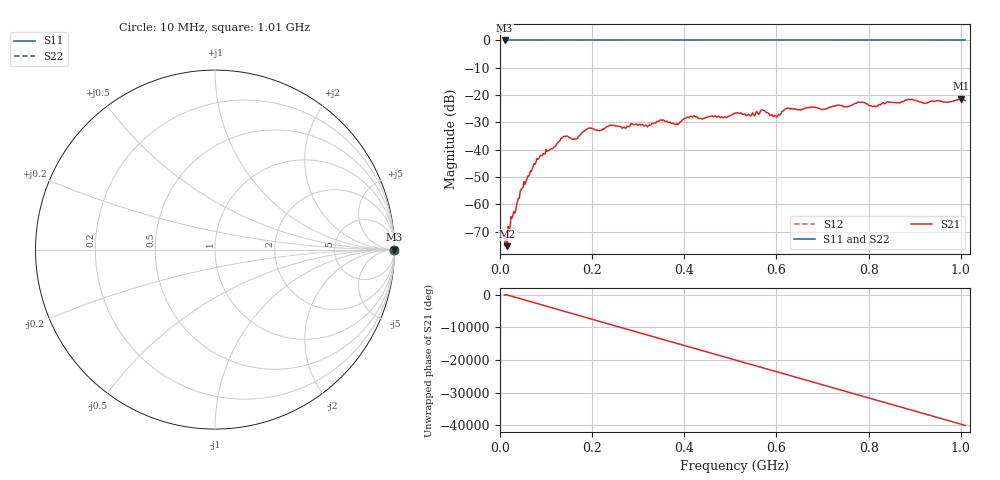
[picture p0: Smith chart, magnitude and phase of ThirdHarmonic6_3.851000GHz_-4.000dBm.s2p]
! 8/17/2025 1:26:06 PM
! C:\ANRITSUVNA\TEMP\TEMP.S2P
! CHANNEL.1
! TR.MEASUREMENT
! RAW.DATA
! RF.CORRECTION.OFF
! AVERAGING.OFF
! IF.BANDWIDTH: 5KHZ
! SWEEPTYPE:  FREQ.SWEEP(Linear)
! Reference Plane Port Info
! PORT:  PORT1  PORT2
! DISTANCE:  0  m  0  m
! TIME:  0  s  0  s
! PHASE.OFFSET:  0  deg.  0  deg.
! LOSS:  0  dB  0  dB
! REF.LOSS:  0  dB  0  dB
! REF.FREQ:  0  Hz  0  Hz
! Power Info
! POWER:  -20  dBm  -20  dBm
! EFF.POWER:  -20  dBm  -20  dBm
! SOURCE.ATTEN:  0  dB  0  dB
! TEST.ATTEN:  0  dB  0  dB
# GHZ S RI R 50.0
! FREQ.GHZ  S11RE  S11IM  S21RE  S21IM  S12RE  S12IM  S22RE  S22IM
!; PortSelection: Port_12
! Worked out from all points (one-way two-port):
!   501 points, 10 MHz to 1.01 GHz, reference 50 ohm
!   highest |S21| = -21.29 dB at 1 GHz (marker M1); lowest = -75.3 dB at 16 MHz (marker M2)
!   lowest |S11| = 0.0 dB at 10 MHz (marker M3)
!   |S11| at or under -10 dB: nowhere
!   |S22| runs from 0.0 to 0.0 dB; largest |S21 - S12| = 1.1
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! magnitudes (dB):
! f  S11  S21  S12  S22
! 10 MHz  0.0  -75.1  0.0  0.0
! 16 MHz  0.0  -75.3  0.0  0.0
! 48 MHz  0.0  -54.0  0.0  0.0
! 84 MHz  0.0  -43.2  0.0  0.0
! 136 MHz  0.0  -35.5  0.0  0.0
! 164 MHz  0.0  -36.2  0.0  0.0
! 178 MHz  0.0  -33.7  0.0  0.0
! 194 MHz  0.0  -32.1  0.0  0.0
! 322 MHz  0.0  -31.2  0.0  0.0
! 344 MHz  0.0  -29.6  0.0  0.0
! 382 MHz  0.0  -30.7  0.0  0.0
! 416 MHz  0.0  -27.9  0.0  0.0
! 510 MHz  0.0  -26.6  0.0  0.0
! 570 MHz  0.0  -25.4  0.0  0.0
! 598 MHz  0.0  -27.6  0.0  0.0
! 622 MHz  0.0  -24.9  0.0  0.0
! 678 MHz  0.0  -24.4  0.0  0.0
! 780 MHz  0.0  -22.5  0.0  0.0
! 814 MHz  0.0  -24.0  0.0  0.0
! 844 MHz  0.0  -22.6  0.0  0.0
! 1 GHz  0.0  -21.3  0.0  0.0
! 1.01 GHz  0.0  -22.0  0.0  0.0
